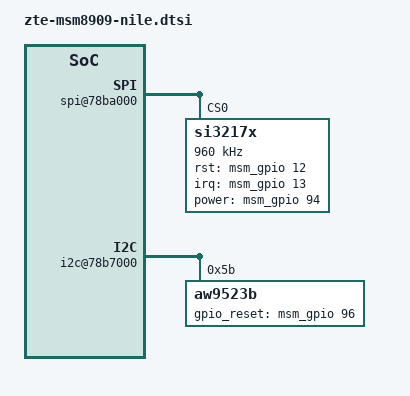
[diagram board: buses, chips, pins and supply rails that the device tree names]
&soc {
	spi@78ba000 { /* BLSP1 QUP6 */
		si3217x@0 {
			compatible = "si3217x";
			reg = <0x0>;
			interrupt-parent = <&msm_gpio>;
			spi-max-frequency = <960000>;
			spi-cpha;
			spi-cpol;
			interrupts = <13 0x2>;
			num_slic =  <1>;
			rst-gpio=<&msm_gpio 12 0x0>;
			irq-gpio=<&msm_gpio 13  0x2>;
			power-gpio=<&msm_gpio 94 0x0>;
			pinctrl-names = "default","sleep";
			pinctrl-0 = <&slic_rst_active &slic_int_active>;
			pinctrl-1 = <&slic_rst_sleep &slic_int_sleep>;
		};
	};
	i2c@78b7000 { /* BLSP1 QUP3 */
		aw9523b@5b {
			compatible = "aw9523b";
			reg = <0x5b>;
			status = "ok";
			aw9523b_mode = < 7 >;
			zte_led,gpio_reset = <&msm_gpio 96 0>;
		};
	};
};

&audio_codec_mtp {
	qcom,msm-gpios =
		"pri_i2s",
		"us_eu_gpio",
		"quat_i2s";
	qcom,pinctrl-names =
		"all_off",
		"pri_i2s_act",
		"us_eu_gpio_act",
		"pri_i2s_us_eu_gpio_act",
		"quat_act",
		"quat_pri_i2s_act",
		"quat_us_eu_gpio_act",
		"quat_us_eu_gpio_pri_i2s_act";
	pinctrl-names =
		"all_off",
		"pri_i2s_act",
		"us_eu_gpio_act",
		"pri_i2s_us_eu_gpio_act",
		"quat_act",
		"quat_pri_i2s_act",
		"quat_us_eu_gpio_act",
		"quat_us_eu_gpio_pri_i2s_act";
	pinctrl-0 = <&cdc_pdm_lines_sus &cross_conn_det_sus &cdc_ext_tlmm_sus>;
	pinctrl-1 = <&cdc_pdm_lines_act &cross_conn_det_sus &cdc_ext_tlmm_sus>;
	pinctrl-2 = <&cdc_pdm_lines_sus &cross_conn_det_act &cdc_ext_tlmm_sus>;
	pinctrl-3 = <&cdc_pdm_lines_act &cross_conn_det_act &cdc_ext_tlmm_sus>;
	pinctrl-4 = <&cdc_pdm_lines_sus &cross_conn_det_sus &cdc_ext_tlmm_act>;
	pinctrl-5 = <&cdc_pdm_lines_act &cross_conn_det_sus &cdc_ext_tlmm_act>;
	pinctrl-6 = <&cdc_pdm_lines_sus &cross_conn_det_act &cdc_ext_tlmm_act>;
	pinctrl-7 = <&cdc_pdm_lines_act &cross_conn_det_act &cdc_ext_tlmm_act>;
};
